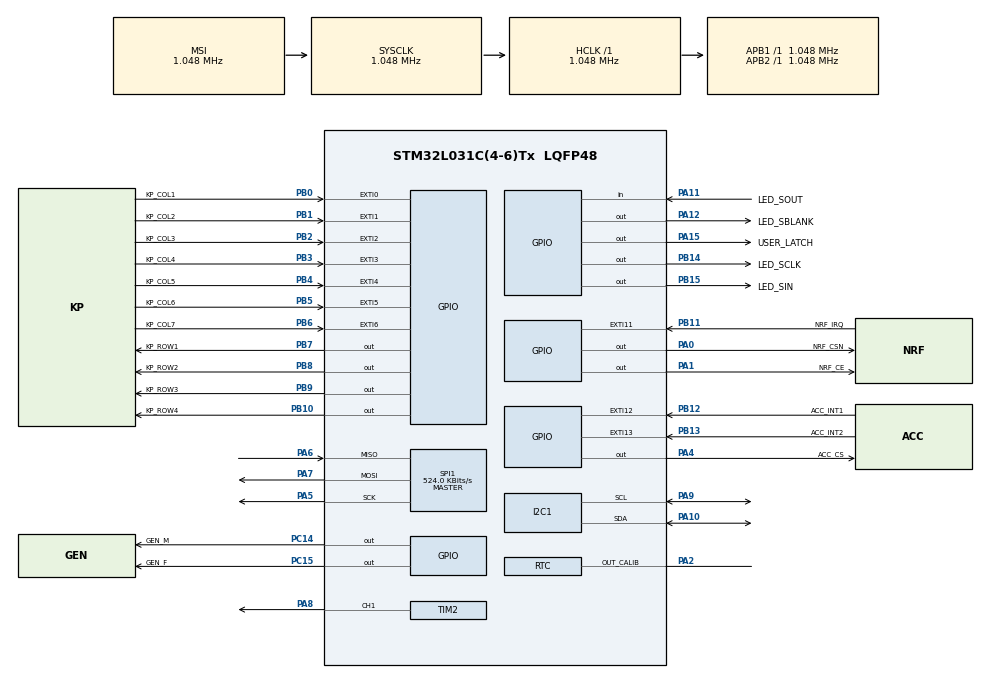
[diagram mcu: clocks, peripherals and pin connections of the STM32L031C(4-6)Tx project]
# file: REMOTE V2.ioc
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I2C1.Timing=0x00000202
Mcu.Family=STM32L0
Mcu.Name=STM32L031C(4-6)Tx
Mcu.Package=LQFP48
NVIC.EXTI0_1_IRQn=true\:3\:0\:true\:true\:true\:1
NVIC.EXTI2_3_IRQn=true\:3\:0\:true\:true\:true\:2
NVIC.EXTI4_15_IRQn=true\:3\:0\:true\:true\:true\:3
NVIC.RTC_IRQn=true\:3\:0\:true\:false\:true
NVIC.TIM21_IRQn=true\:2\:0\:true\:false\:true
NVIC.TIM22_IRQn=true\:2\:0\:true\:false\:true
NVIC.TIM2_IRQn=true\:2\:0\:true\:false\:true
PA0.GPIO_Label=NRF_CSN
PA0.GPIO_PuPd=GPIO_PULLDOWN
PA0.Signal=GPIO_Output
PA1.GPIO_Label=NRF_CE
PA1.Signal=GPIO_Output
PA10.Mode=I2C
PA10.Signal=I2C1_SDA
PA11.GPIO_Label=LED_SOUT
PA11.GPIO_PuPd=GPIO_PULLDOWN
PA11.Signal=GPIO_Input
PA12.GPIO_Label=LED_SBLANK
PA12.GPIO_PuPd=GPIO_PULLDOWN
PA12.Signal=GPIO_Output
PA13.Mode=Serial_Wire
PA13.Signal=SYS_SWDIO
PA14.Mode=Serial_Wire
PA14.Signal=SYS_SWCLK
PA15.GPIO_Label=USER_LATCH
PA15.GPIO_PuPd=GPIO_PULLDOWN
PA15.Signal=GPIO_Output
PA2.Mode=Calibration_512Hz
PA2.Signal=RTC_OUT_CALIB
PA4.GPIO_Label=ACC_CS
PA4.GPIO_PuPd=GPIO_PULLDOWN
PA4.Signal=GPIO_Output
PA5.Mode=Full_Duplex_Master
PA5.Signal=SPI1_SCK
PA6.Mode=Full_Duplex_Master
PA6.Signal=SPI1_MISO
PA7.Mode=Full_Duplex_Master
PA7.Signal=SPI1_MOSI
PA8.Signal=S_TIM2_CH1
PA9.Mode=I2C
PA9.Signal=I2C1_SCL
PB0.GPIO_Label=KP_COL1
PB0.Signal=GPXTI0
PB1.GPIO_Label=KP_COL2
PB1.Signal=GPXTI1
PB10.GPIO_Label=KP_ROW4
PB10.Signal=GPIO_Output
PB11.GPIO_Label=NRF_IRQ
PB11.GPIO_PuPd=GPIO_PULLDOWN
PB11.Signal=GPXTI11
PB12.GPIO_Label=ACC_INT1
PB12.GPIO_PuPd=GPIO_PULLDOWN
PB12.Signal=GPXTI12
PB13.GPIO_Label=ACC_INT2
PB13.GPIO_PuPd=GPIO_PULLDOWN
PB13.Signal=GPXTI13
PB14.GPIO_Label=LED_SCLK
PB14.GPIO_PuPd=GPIO_PULLDOWN
PB14.Signal=GPIO_Output
PB15.GPIO_Label=LED_SIN
PB15.GPIO_PuPd=GPIO_PULLDOWN
PB15.Signal=GPIO_Output
PB2.GPIO_Label=KP_COL3
PB2.Signal=GPXTI2
PB3.GPIO_Label=KP_COL4
PB3.Signal=GPXTI3
PB4.GPIO_Label=KP_COL5
PB4.Signal=GPXTI4
PB5.GPIO_Label=KP_COL6
PB5.Signal=GPXTI5
PB6.GPIO_Label=KP_COL7
PB6.Signal=GPXTI6
PB7.GPIO_FM7=__NULL
PB7.GPIO_Label=KP_ROW1
PB7.GPIO_PuPd=GPIO_PULLDOWN
PB7.Signal=GPIO_Output
PB8.GPIO_Label=KP_ROW2
PB8.GPIO_PuPd=GPIO_PULLDOWN
PB8.Signal=GPIO_Output
PB9.GPIO_Label=KP_ROW3
PB9.GPIO_PuPd=GPIO_PULLDOWN
PB9.Signal=GPIO_Output
PC14-OSC32_IN.GPIO_Label=GEN_M
PC14-OSC32_IN.GPIO_PuPd=GPIO_NOPULL
PC14-OSC32_IN.PinState=GPIO_PIN_SET
PC14-OSC32_IN.Signal=GPIO_Output
PC15-OSC32_OUT.GPIO_Label=GEN_F
PC15-OSC32_OUT.PinState=GPIO_PIN_SET
PC15-OSC32_OUT.Signal=GPIO_Output
ProjectManager.HeapSize=0x200
ProjectManager.StackSize=0x400
ProjectManager.TargetToolchain=MDK-ARM V5
RCC.AHBFreq_Value=1048000
RCC.APB1Freq_Value=1048000
RCC.APB1TimFreq_Value=1048000
RCC.APB2Freq_Value=1048000
RCC.APB2TimFreq_Value=1048000
RCC.HCLKFreq_Value=1048000
RCC.HSE_VALUE=8000000
RCC.HSI16_VALUE=16000000
RCC.HSI_VALUE=16000000
RCC.LSE_VALUE=32768
RCC.MSIClockRange=RCC_MSIRANGE_4
RCC.MSI_VALUE=1048000
RCC.RCC_RTC_Clock_Source_FROM_HSE=RCC_RTCCLKSOURCE_HSE_DIV16
RCC.SYSCLKFreq_VALUE=1048000
RCC.VCOOutputFreq_Value=48000000
RTC.WakeUpClock-WakeUp=RTC_WAKEUPCLOCK_CK_SPRE_16BITS
RTC.WakeUpCounter-WakeUp=1
SH.S_TIM2_CH1.0=TIM2_CH1,Output Compare1 CH1
SPI1.CalculateBaudRate=524.0 KBits/s
SPI1.Mode=SPI_MODE_MASTER
TIM2.OCMode_1=TIM_OCMODE_TIMING
TIM2.OCPolarity_1=TIM_OCPOLARITY_LOW
TIM2.Period=0
TIM2.Prescaler=0
TIM21.Period=100
TIM21.Prescaler=1000
VP_RTC_VS_RTC_Alarm_A_Intern.Mode=Alarm A
VP_RTC_VS_RTC_WakeUp_intern.Mode=WakeUp
VP_TIM21_VS_ClockSourceINT.Mode=Internal
VP_TIM22_VS_ClockSourceINT.Mode=Internal
VP_TIM2_VS_ClockSourceINT.Mode=Internal
board=REMOTE V2

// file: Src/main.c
/**
  ******************************************************************************
  * File Name          : main.c
  * Description        : Main program body
  ******************************************************************************
  *
  * COPYRIGHT(c) 2016 STMicroelectronics
  *
  * Redistribution and use in source and binary forms, with or without modification,
  * are permitted provided that the following conditions are met:
  *   1. Redistributions of source code must retain the above copyright notice,
  *      this list of conditions and the following disclaimer.
  *   2. Redistributions in binary form must reproduce the above copyright notice,
  *      this list of conditions and the following disclaimer in the documentation
  *      and/or other materials provided with the distribution.
  *   3. Neither the name of STMicroelectronics nor the names of its contributors
  *      may be used to endorse or promote products derived from this software
  *      without specific prior written permission.
  *
  * THIS SOFTWARE IS PROVIDED BY THE COPYRIGHT HOLDERS AND CONTRIBUTORS "AS IS"
  * AND ANY EXPRESS OR IMPLIED WARRANTIES, INCLUDING, BUT NOT LIMITED TO, THE
  * IMPLIED WARRANTIES OF MERCHANTABILITY AND FITNESS FOR A PARTICULAR PURPOSE ARE
  * DISCLAIMED. IN NO EVENT SHALL THE COPYRIGHT HOLDER OR CONTRIBUTORS BE LIABLE
  * FOR ANY DIRECT, INDIRECT, INCIDENTAL, SPECIAL, EXEMPLARY, OR CONSEQUENTIAL
  * DAMAGES (INCLUDING, BUT NOT LIMITED TO, PROCUREMENT OF SUBSTITUTE GOODS OR
  * SERVICES; LOSS OF USE, DATA, OR PROFITS; OR BUSINESS INTERRUPTION) HOWEVER
  * CAUSED AND ON ANY THEORY OF LIABILITY, WHETHER IN CONTRACT, STRICT LIABILITY,
  * OR TORT (INCLUDING NEGLIGENCE OR OTHERWISE) ARISING IN ANY WAY OUT OF THE USE
  * OF THIS SOFTWARE, EVEN IF ADVISED OF THE POSSIBILITY OF SUCH DAMAGE.
  *
  ******************************************************************************
  */
#include "stm32l0xx_hal.h"

/* USER CODE BEGIN Includes */
#include "stdio.h"
#include "stdlib.h"
#include "nRF24L01.h"
#include "led_position.h"
#include "key_position.h"
#include "stm32l0xx_it.h"

#include "tlc.h"
#include "nrf.h"

#define STM32_UUID ((uint32_t *)0x1FFFF7AC) // 3 byte uid AC, B0 & B4

/* USER CODE END Includes */

I2C_HandleTypeDef hi2c1;

RTC_HandleTypeDef hrtc;

SPI_HandleTypeDef hspi1;

TIM_HandleTypeDef htim2;
TIM_HandleTypeDef htim21;
TIM_HandleTypeDef htim22;

/* USER CODE BEGIN PV */
/* Private variables ---------------------------------------------------------*/
uint8_t status;

uint8_t nrfreg[32];
uint8_t nrfrxb[32];
uint8_t nrftxb[32];

/* USER CODE END PV */

void SystemClock_Config(void);
void Error_Handler(void);
static void MX_GPIO_Init(void);
static void MX_I2C1_Init(void);
static void MX_RTC_Init(void);
static void MX_SPI1_Init(void);
static void MX_TIM2_Init(void);
static void MX_TIM21_Init(void);
static void MX_TIM22_Init(void);
static void MX_NVIC_Init(void);

void HAL_TIM_MspPostInit(TIM_HandleTypeDef *htim);

/* USER CODE BEGIN PFP */
/* Private function prototypes -----------------------------------------------*/

/* USER CODE END PFP */

int main(void)
{

  /* USER CODE BEGIN 1 */

	uint32_t uid, gcall;

  kp_prev = kp_next = 0;

	buzzer_lock = 0;
	led_lock = 0;
	ms2enable = 0;

	ledreg = 0x00;

	uid = *STM32_UUID;
	gcall = 0x07091987;

	sermask = 0xfff;

  /* USER CODE END 1 */

  /* MCU Configuration----------------------------------------------------------*/

  /* Reset of all peripherals, Initializes the Flash interface and the Systick. */
  HAL_Init();

  /* Configure the system clock */
  SystemClock_Config();

  /* Initialize all configured peripherals */
  MX_GPIO_Init();
  MX_I2C1_Init();
  MX_RTC_Init();
  MX_SPI1_Init();
  MX_TIM2_Init();
  MX_TIM21_Init();
  MX_TIM22_Init();

  /* Initialize interrupts */
  MX_NVIC_Init();

  /* USER CODE BEGIN 2 */
  ledbrightness(50);
	RTC->ISR &= ~RTC_ISR_WUTF;				// Necessary after RTC wakeup initializtion to clear the Interrup status register

/*
  nrfreadreg(hspi1, 0x00); // default read function necessary
// 	HAL_Delay(1000);  buzzer_init();

	nrfinit(hspi1, 22, 0xff); // 22 for ch, 0x75 7 for ARD & 5 for ARC
  nrfrxaddr(hspi1, 0, 32, gcall);
	nrftxaddr(hspi1, gcall);

  nrfregstatus(hspi1, nrfreg);
//	HAL_UART_Transmit(&huart2, nrfreg, 32, 1000);

//	nrfrx_powerup(hspi1);
  nrftx_powerup(hspi1);
*/

  ledcmd(0x56, 0x56, 0x7f, 0x96);
  ledreg = attn(ledreg);

  leddata(ledreg);

	BLANKc;	HAL_Delay(500);
	BLANKs;

  buzzer_init();
  Buzzs;  HAL_Delay(100);
	Buzzc;  HAL_Delay(50);
  Buzzs;  HAL_Delay(100);
	Buzzc;  HAL_Delay(50);

  ledcmd(0x56, 0x56, 0x7f, 0x96);			// Repeat TLC 5954 initialization as data is lost due to Buzzer excess power drawn

  /* USER CODE END 2 */

  /* Infinite loop */
  /* USER CODE BEGIN WHILE */
  while (1)
  {
		//   nrftransmit(hspi1, nrftxb, 32);
//		HAL_Delay(10);

//    nrfregstatus(hspi1, nrfreg);
// 	  HAL_UART_Transmit(&huart2, nrfreg, 32, 1000);

		user_interface();

  /* USER CODE END WHILE */

  }

}

/** System Clock Configuration
*/
void SystemClock_Config(void)
{

  RCC_OscInitTypeDef RCC_OscInitStruct;
  RCC_ClkInitTypeDef RCC_ClkInitStruct;
  RCC_PeriphCLKInitTypeDef PeriphClkInit;

  __HAL_RCC_PWR_CLK_ENABLE();

  __HAL_PWR_VOLTAGESCALING_CONFIG(PWR_REGULATOR_VOLTAGE_SCALE1);

  RCC_OscInitStruct.OscillatorType = RCC_OSCILLATORTYPE_LSI|RCC_OSCILLATORTYPE_MSI;
  RCC_OscInitStruct.LSIState = RCC_LSI_ON;
  RCC_OscInitStruct.MSIState = RCC_MSI_ON;
  RCC_OscInitStruct.MSICalibrationValue = 0;
  RCC_OscInitStruct.MSIClockRange = RCC_MSIRANGE_4;
  RCC_OscInitStruct.PLL.PLLState = RCC_PLL_NONE;
  if (HAL_RCC_OscConfig(&RCC_OscInitStruct) != HAL_OK)
  {
    Error_Handler();
  }

  RCC_ClkInitStruct.ClockType = RCC_CLOCKTYPE_HCLK|RCC_CLOCKTYPE_SYSCLK
                              |RCC_CLOCKTYPE_PCLK1|RCC_CLOCKTYPE_PCLK2;
  RCC_ClkInitStruct.SYSCLKSource = RCC_SYSCLKSOURCE_MSI;
  RCC_ClkInitStruct.AHBCLKDivider = RCC_SYSCLK_DIV1;
  RCC_ClkInitStruct.APB1CLKDivider = RCC_HCLK_DIV1;
  RCC_ClkInitStruct.APB2CLKDivider = RCC_HCLK_DIV1;
  if (HAL_RCC_ClockConfig(&RCC_ClkInitStruct, FLASH_LATENCY_0) != HAL_OK)
  {
    Error_Handler();
  }

  PeriphClkInit.PeriphClockSelection = RCC_PERIPHCLK_I2C1|RCC_PERIPHCLK_RTC;
  PeriphClkInit.I2c1ClockSelection = RCC_I2C1CLKSOURCE_PCLK1;
  PeriphClkInit.RTCClockSelection = RCC_RTCCLKSOURCE_LSI;
  if (HAL_RCCEx_PeriphCLKConfig(&PeriphClkInit) != HAL_OK)
  {
    Error_Handler();
  }

  HAL_SYSTICK_Config(HAL_RCC_GetHCLKFreq()/1000);

  HAL_SYSTICK_CLKSourceConfig(SYSTICK_CLKSOURCE_HCLK);

  /* SysTick_IRQn interrupt configuration */
  HAL_NVIC_SetPriority(SysTick_IRQn, 0, 0);
}

/** NVIC Configuration
*/
static void MX_NVIC_Init(void)
{
  /* EXTI0_1_IRQn interrupt configuration */
  HAL_NVIC_SetPriority(EXTI0_1_IRQn, 3, 0);
  HAL_NVIC_EnableIRQ(EXTI0_1_IRQn);
  /* EXTI2_3_IRQn interrupt configuration */
  HAL_NVIC_SetPriority(EXTI2_3_IRQn, 3, 0);
  HAL_NVIC_EnableIRQ(EXTI2_3_IRQn);
  /* EXTI4_15_IRQn interrupt configuration */
  HAL_NVIC_SetPriority(EXTI4_15_IRQn, 3, 0);
  HAL_NVIC_EnableIRQ(EXTI4_15_IRQn);
}

/* I2C1 init function */
static void MX_I2C1_Init(void)
{

  hi2c1.Instance = I2C1;
  hi2c1.Init.Timing = 0x00000202;
  hi2c1.Init.OwnAddress1 = 0;
  hi2c1.Init.AddressingMode = I2C_ADDRESSINGMODE_7BIT;
  hi2c1.Init.DualAddressMode = I2C_DUALADDRESS_DISABLE;
  hi2c1.Init.OwnAddress2 = 0;
  hi2c1.Init.OwnAddress2Masks = I2C_OA2_NOMASK;
  hi2c1.Init.GeneralCallMode = I2C_GENERALCALL_DISABLE;
  hi2c1.Init.NoStretchMode = I2C_NOSTRETCH_DISABLE;
  if (HAL_I2C_Init(&hi2c1) != HAL_OK)
  {
    Error_Handler();
  }

    /**Configure Analogue filter
    */
  if (HAL_I2CEx_ConfigAnalogFilter(&hi2c1, I2C_ANALOGFILTER_ENABLE) != HAL_OK)
  {
    Error_Handler();
  }

}

/* RTC init function */
static void MX_RTC_Init(void)
{

  RTC_TimeTypeDef sTime;
  RTC_DateTypeDef sDate;
  RTC_AlarmTypeDef sAlarm;

    /**Initialize RTC and set the Time and Date
    */
  hrtc.Instance = RTC;
  hrtc.Init.HourFormat = RTC_HOURFORMAT_24;
  hrtc.Init.AsynchPrediv = 127;
  hrtc.Init.SynchPrediv = 320-1;
  hrtc.Init.OutPut = RTC_OUTPUT_DISABLE;
  hrtc.Init.OutPutRemap = RTC_OUTPUT_REMAP_NONE;
  hrtc.Init.OutPutPolarity = RTC_OUTPUT_POLARITY_HIGH;
  hrtc.Init.OutPutType = RTC_OUTPUT_TYPE_OPENDRAIN;
  if (HAL_RTC_Init(&hrtc) != HAL_OK)
  {
    Error_Handler();
  }

  sTime.Hours = 0x0;
  sTime.Minutes = 0x0;
  sTime.Seconds = 0x0;
  sTime.DayLightSaving = RTC_DAYLIGHTSAVING_NONE;
  sTime.StoreOperation = RTC_STOREOPERATION_RESET;
  if (HAL_RTC_SetTime(&hrtc, &sTime, RTC_FORMAT_BCD) != HAL_OK)
  {
    Error_Handler();
  }

  sDate.WeekDay = RTC_WEEKDAY_MONDAY;
  sDate.Month = RTC_MONTH_JANUARY;
  sDate.Date = 0x1;
  sDate.Year = 0x0;

  if (HAL_RTC_SetDate(&hrtc, &sDate, RTC_FORMAT_BCD) != HAL_OK)
  {
    Error_Handler();
  }

    /**Enable the Alarm A
    */
  sAlarm.AlarmTime.Hours = 0x0;
  sAlarm.AlarmTime.Minutes = 0x0;
  sAlarm.AlarmTime.Seconds = 0x0;
  sAlarm.AlarmTime.SubSeconds = 0x0;
  sAlarm.AlarmTime.DayLightSaving = RTC_DAYLIGHTSAVING_NONE;
  sAlarm.AlarmTime.StoreOperation = RTC_STOREOPERATION_RESET;
  sAlarm.AlarmMask = RTC_ALARMMASK_NONE;
  sAlarm.AlarmSubSecondMask = RTC_ALARMSUBSECONDMASK_ALL;
  sAlarm.AlarmDateWeekDaySel = RTC_ALARMDATEWEEKDAYSEL_DATE;
  sAlarm.AlarmDateWeekDay = 1;
  sAlarm.Alarm = RTC_ALARM_A;
  if (HAL_RTC_SetAlarm_IT(&hrtc, &sAlarm, RTC_FORMAT_BCD) != HAL_OK)
  {
    Error_Handler();
  }

    /**Enable the WakeUp
    */
  if (HAL_RTCEx_SetWakeUpTimer_IT(&hrtc, 1, RTC_WAKEUPCLOCK_CK_SPRE_16BITS) != HAL_OK)
  {
    Error_Handler();
  }

    /**Enable Calibrartion
    */
  if (HAL_RTCEx_SetCalibrationOutPut(&hrtc, RTC_CALIBOUTPUT_1HZ) != HAL_OK)
  {
    Error_Handler();
  }

}

/* SPI1 init function */
static void MX_SPI1_Init(void)
{

  hspi1.Instance = SPI1;
  hspi1.Init.Mode = SPI_MODE_MASTER;
  hspi1.Init.Direction = SPI_DIRECTION_2LINES;
  hspi1.Init.DataSize = SPI_DATASIZE_8BIT;
  hspi1.Init.CLKPolarity = SPI_POLARITY_LOW;
  hspi1.Init.CLKPhase = SPI_PHASE_1EDGE;
  hspi1.Init.NSS = SPI_NSS_SOFT;
  hspi1.Init.BaudRatePrescaler = SPI_BAUDRATEPRESCALER_2;
  hspi1.Init.FirstBit = SPI_FIRSTBIT_MSB;
  hspi1.Init.TIMode = SPI_TIMODE_DISABLE;
  hspi1.Init.CRCCalculation = SPI_CRCCALCULATION_DISABLE;
  hspi1.Init.CRCPolynomial = 7;
  if (HAL_SPI_Init(&hspi1) != HAL_OK)
  {
    Error_Handler();
  }

}

/* TIM2 init function */
static void MX_TIM2_Init(void)
{

  TIM_ClockConfigTypeDef sClockSourceConfig;
  TIM_MasterConfigTypeDef sMasterConfig;
  TIM_OC_InitTypeDef sConfigOC;

  htim2.Instance = TIM2;
  htim2.Init.Prescaler = 1;
  htim2.Init.CounterMode = TIM_COUNTERMODE_UP;
  htim2.Init.Period = 70-1;
  htim2.Init.ClockDivision = TIM_CLOCKDIVISION_DIV1;
  if (HAL_TIM_Base_Init(&htim2) != HAL_OK)
  {
    Error_Handler();
  }

  sClockSourceConfig.ClockSource = TIM_CLOCKSOURCE_INTERNAL;
  if (HAL_TIM_ConfigClockSource(&htim2, &sClockSourceConfig) != HAL_OK)
  {
    Error_Handler();
  }

  if (HAL_TIM_OC_Init(&htim2) != HAL_OK)
  {
    Error_Handler();
  }

  sMasterConfig.MasterOutputTrigger = TIM_TRGO_RESET;
  sMasterConfig.MasterSlaveMode = TIM_MASTERSLAVEMODE_DISABLE;
  if (HAL_TIMEx_MasterConfigSynchronization(&htim2, &sMasterConfig) != HAL_OK)
  {
    Error_Handler();
  }

  sConfigOC.OCMode = TIM_OCMODE_TOGGLE ;
  sConfigOC.Pulse = 35-1;
  sConfigOC.OCPolarity = TIM_OCPOLARITY_LOW;
  sConfigOC.OCFastMode = TIM_OCFAST_DISABLE;
  if (HAL_TIM_OC_ConfigChannel(&htim2, &sConfigOC, TIM_CHANNEL_1) != HAL_OK)
  {
    Error_Handler();
  }

  HAL_TIM_MspPostInit(&htim2);

}

/* TIM21 init function */
static void MX_TIM21_Init(void)
{

  TIM_ClockConfigTypeDef sClockSourceConfig;
  TIM_MasterConfigTypeDef sMasterConfig;

  htim21.Instance = TIM21;
  htim21.Init.Prescaler = 1000;
  htim21.Init.CounterMode = TIM_COUNTERMODE_UP;
  htim21.Init.Period = 100;
  htim21.Init.ClockDivision = TIM_CLOCKDIVISION_DIV1;
  if (HAL_TIM_Base_Init(&htim21) != HAL_OK)
  {
    Error_Handler();
  }

  sClockSourceConfig.ClockSource = TIM_CLOCKSOURCE_INTERNAL;
  if (HAL_TIM_ConfigClockSource(&htim21, &sClockSourceConfig) != HAL_OK)
  {
    Error_Handler();
  }

  sMasterConfig.MasterOutputTrigger = TIM_TRGO_RESET;
  sMasterConfig.MasterSlaveMode = TIM_MASTERSLAVEMODE_DISABLE;
  if (HAL_TIMEx_MasterConfigSynchronization(&htim21, &sMasterConfig) != HAL_OK)
  {
    Error_Handler();
  }

}

/* TIM22 init function */
static void MX_TIM22_Init(void)
{

  TIM_ClockConfigTypeDef sClockSourceConfig;
  TIM_MasterConfigTypeDef sMasterConfig;

  htim22.Instance = TIM22;
  htim22.Init.Prescaler = 100-1;
  htim22.Init.CounterMode = TIM_COUNTERMODE_UP;
  htim22.Init.Period = 100-1;
  htim22.Init.ClockDivision = TIM_CLOCKDIVISION_DIV1;
  if (HAL_TIM_Base_Init(&htim22) != HAL_OK)
  {
    Error_Handler();
  }

  sClockSourceConfig.ClockSource = TIM_CLOCKSOURCE_INTERNAL;
  if (HAL_TIM_ConfigClockSource(&htim22, &sClockSourceConfig) != HAL_OK)
  {
    Error_Handler();
  }

  sMasterConfig.MasterOutputTrigger = TIM_TRGO_RESET;
  sMasterConfig.MasterSlaveMode = TIM_MASTERSLAVEMODE_DISABLE;
  if (HAL_TIMEx_MasterConfigSynchronization(&htim22, &sMasterConfig) != HAL_OK)
  {
    Error_Handler();
  }

}

/** Configure pins as
        * Analog
        * Input
        * Output
        * EVENT_OUT
        * EXTI
*/
static void MX_GPIO_Init(void)
{

  GPIO_InitTypeDef GPIO_InitStruct;

  /* GPIO Ports Clock Enable */
  __HAL_RCC_GPIOC_CLK_ENABLE();
  __HAL_RCC_GPIOA_CLK_ENABLE();
  __HAL_RCC_GPIOB_CLK_ENABLE();

  /*Configure GPIO pin Output Level */
  HAL_GPIO_WritePin(GPIOC, GEN_M_Pin|GEN_F_Pin, GPIO_PIN_SET);

  /*Configure GPIO pin Output Level */
  HAL_GPIO_WritePin(GPIOA, NRF_CSN_Pin|NRF_CE_Pin|ACC_CS_Pin|LED_SBLANK_Pin
                          |USER_LATCH_Pin, GPIO_PIN_RESET);

  /*Configure GPIO pin Output Level */
  HAL_GPIO_WritePin(GPIOB, KP_ROW4_Pin|LED_SCLK_Pin|LED_SIN_Pin|KP_ROW1_Pin
                          |KP_ROW2_Pin|KP_ROW3_Pin, GPIO_PIN_RESET);

  /*Configure GPIO pins : GEN_M_Pin GEN_F_Pin */
  GPIO_InitStruct.Pin = GEN_M_Pin|GEN_F_Pin;
  GPIO_InitStruct.Mode = GPIO_MODE_OUTPUT_PP;
  GPIO_InitStruct.Pull = GPIO_NOPULL;
  GPIO_InitStruct.Speed = GPIO_SPEED_FREQ_LOW;
  HAL_GPIO_Init(GPIOC, &GPIO_InitStruct);

  /*Configure GPIO pins : NRF_CSN_Pin ACC_CS_Pin LED_SBLANK_Pin USER_LATCH_Pin */
  GPIO_InitStruct.Pin = NRF_CSN_Pin|ACC_CS_Pin|LED_SBLANK_Pin|USER_LATCH_Pin;
  GPIO_InitStruct.Mode = GPIO_MODE_OUTPUT_PP;
  GPIO_InitStruct.Pull = GPIO_PULLDOWN;
  GPIO_InitStruct.Speed = GPIO_SPEED_FREQ_LOW;
  HAL_GPIO_Init(GPIOA, &GPIO_InitStruct);

  /*Configure GPIO pin : NRF_CE_Pin */
  GPIO_InitStruct.Pin = NRF_CE_Pin;
  GPIO_InitStruct.Mode = GPIO_MODE_OUTPUT_PP;
  GPIO_InitStruct.Pull = GPIO_NOPULL;
  GPIO_InitStruct.Speed = GPIO_SPEED_FREQ_LOW;
  HAL_GPIO_Init(NRF_CE_GPIO_Port, &GPIO_InitStruct);

  /*Configure GPIO pins : KP_COL1_Pin KP_COL2_Pin KP_COL3_Pin KP_COL4_Pin
                           KP_COL5_Pin KP_COL6_Pin KP_COL7_Pin */
  GPIO_InitStruct.Pin = KP_COL1_Pin|KP_COL2_Pin|KP_COL3_Pin|KP_COL4_Pin
                          |KP_COL5_Pin|KP_COL6_Pin|KP_COL7_Pin;
  GPIO_InitStruct.Mode = GPIO_MODE_IT_RISING;
  GPIO_InitStruct.Pull = GPIO_NOPULL;
  HAL_GPIO_Init(GPIOB, &GPIO_InitStruct);

  /*Configure GPIO pin : KP_ROW4_Pin */
  GPIO_InitStruct.Pin = KP_ROW4_Pin;
  GPIO_InitStruct.Mode = GPIO_MODE_OUTPUT_PP;
  GPIO_InitStruct.Pull = GPIO_NOPULL;
  GPIO_InitStruct.Speed = GPIO_SPEED_FREQ_LOW;
  HAL_GPIO_Init(KP_ROW4_GPIO_Port, &GPIO_InitStruct);

  /*Configure GPIO pins : NRF_IRQ_Pin ACC_INT1_Pin ACC_INT2_Pin */
  GPIO_InitStruct.Pin = NRF_IRQ_Pin|ACC_INT1_Pin|ACC_INT2_Pin;
  GPIO_InitStruct.Mode = GPIO_MODE_IT_RISING;
  GPIO_InitStruct.Pull = GPIO_PULLDOWN;
  HAL_GPIO_Init(GPIOB, &GPIO_InitStruct);

  /*Configure GPIO pins : LED_SCLK_Pin LED_SIN_Pin KP_ROW1_Pin KP_ROW2_Pin
                           KP_ROW3_Pin */
  GPIO_InitStruct.Pin = LED_SCLK_Pin|LED_SIN_Pin|KP_ROW1_Pin|KP_ROW2_Pin
                          |KP_ROW3_Pin;
  GPIO_InitStruct.Mode = GPIO_MODE_OUTPUT_PP;
  GPIO_InitStruct.Pull = GPIO_PULLDOWN;
  GPIO_InitStruct.Speed = GPIO_SPEED_FREQ_LOW;
  HAL_GPIO_Init(GPIOB, &GPIO_InitStruct);

  /*Configure GPIO pin : LED_SOUT_Pin */
  GPIO_InitStruct.Pin = LED_SOUT_Pin;
  GPIO_InitStruct.Mode = GPIO_MODE_INPUT;
  GPIO_InitStruct.Pull = GPIO_PULLDOWN;
  HAL_GPIO_Init(LED_SOUT_GPIO_Port, &GPIO_InitStruct);

}

void Error_Handler(void)
{
  while(1)
  {
  }
}

/************************ (C) COPYRIGHT STMicroelectronics *****END OF FILE****/
